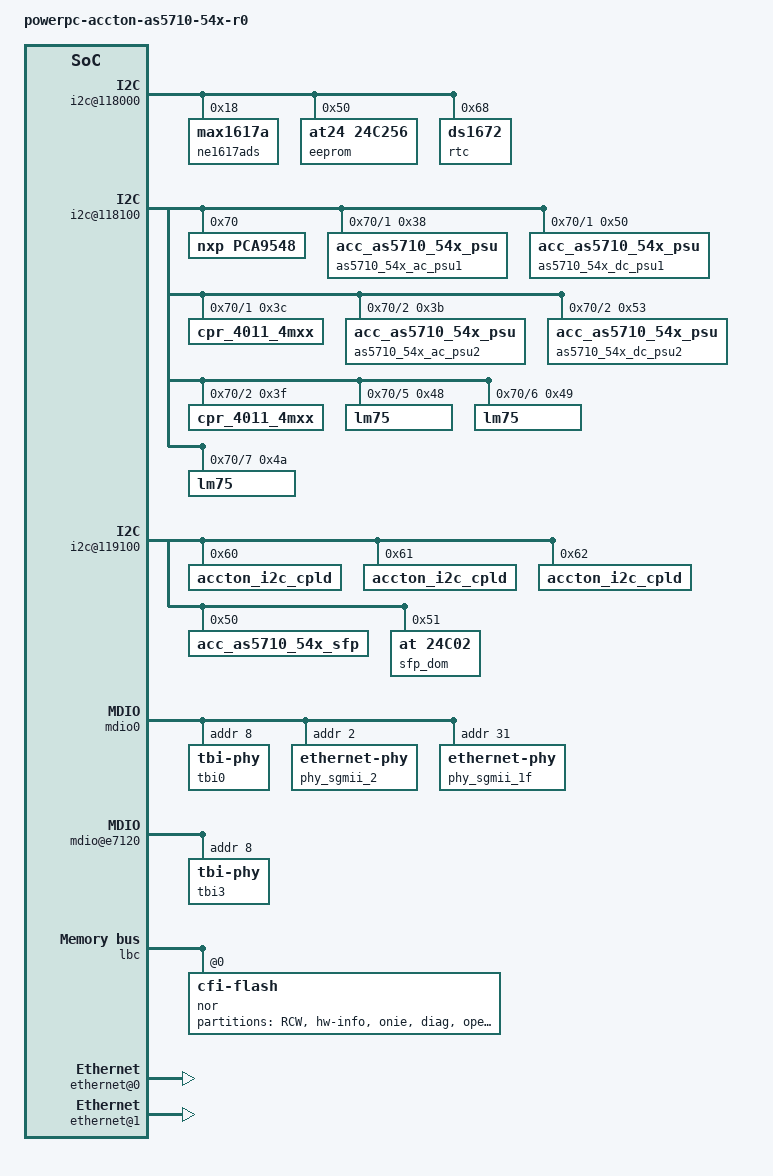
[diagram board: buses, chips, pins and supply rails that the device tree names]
/*
 * P2041RDB Device Tree Source
 *
 * Copyright 2011-2012 Freescale Semiconductor Inc.
 *
 * Redistribution and use in source and binary forms, with or without
 * modification, are permitted provided that the following conditions are met:
 *     * Redistributions of source code must retain the above copyright
 *	 notice, this list of conditions and the following disclaimer.
 *     * Redistributions in binary form must reproduce the above copyright
 *	 notice, this list of conditions and the following disclaimer in the
 *	 documentation and/or other materials provided with the distribution.
 *     * Neither the name of Freescale Semiconductor nor the
 *	 names of its contributors may be used to endorse or promote products
 *	 derived from this software without specific prior written permission.
 *
 *
 * ALTERNATIVELY, this software may be distributed under the terms of the
 * GNU General Public License ("GPL") as published by the Free Software
 * Foundation, either version 2 of that License or (at your option) any
 * later version.
 *
 * THIS SOFTWARE IS PROVIDED BY Freescale Semiconductor ``AS IS'' AND ANY
 * EXPRESS OR IMPLIED WARRANTIES, INCLUDING, BUT NOT LIMITED TO, THE IMPLIED
 * WARRANTIES OF MERCHANTABILITY AND FITNESS FOR A PARTICULAR PURPOSE ARE
 * DISCLAIMED. IN NO EVENT SHALL Freescale Semiconductor BE LIABLE FOR ANY
 * DIRECT, INDIRECT, INCIDENTAL, SPECIAL, EXEMPLARY, OR CONSEQUENTIAL DAMAGES
 * (INCLUDING, BUT NOT LIMITED TO, PROCUREMENT OF SUBSTITUTE GOODS OR SERVICES;
 * LOSS OF USE, DATA, OR PROFITS; OR BUSINESS INTERRUPTION) HOWEVER CAUSED AND
 * ON ANY THEORY OF LIABILITY, WHETHER IN CONTRACT, STRICT LIABILITY, OR TORT
 * (INCLUDING NEGLIGENCE OR OTHERWISE) ARISING IN ANY WAY OUT OF THE USE OF THIS
 * SOFTWARE, EVEN IF ADVISED OF THE POSSIBILITY OF SUCH DAMAGE.
 */

/include/ "fsl/as5710_54x-pre.dtsi"

/ {
	model = "powerpc-accton-as5710-54x-r0";
	compatible = "accton,as5710_54x";
	#address-cells = <2>;
	#size-cells = <2>;
	interrupt-parent = <&mpic>;

	aliases {
		ethernet0 = &enet3;
		ethernet1 = &enet0;
		phy_sgmii_2 = &phy_sgmii_2;
		phy_sgmii_1f = &phy_sgmii_1f;

	};

	memory {
		device_type = "memory";
	};

	dcsr: dcsr@f00000000 {
		ranges = <0x00000000 0xf 0x00000000 0x01008000>;
	};

	bportals: bman-portals@ff4000000 {
		ranges = <0x0 0xf 0xf4000000 0x200000>;
	};

	qportals: qman-portals@ff4200000 {
		ranges = <0x0 0xf 0xf4200000 0x200000>;
	};

	soc: soc@ffe000000 {
		ranges = <0x00000000 0xf 0xfe000000 0x1000000>;
		reg = <0xf 0xfe000000 0 0x00001000>;


		i2c@118000 {
			ne1617ads@18 {
				compatible = "max1617a";
				reg = <0x18>;
			};
			eeprom@50 {
				compatible = "at24,24c256";
				reg = <0x50>;
			};
			rtc: ds1672@68 {
				compatible = "ds1672";
				reg = <0x68>;
			};
		};

		i2c@118100 {
			pca9548@70 {
				compatible = "nxp,pca9548";
				reg = <0x70>;
				#address-cells = <1>;
				#size-cells = <0>;

				i2c@1 {
					#address-cells = <0x1>;
					#size-cells = <0x0>;
					reg = <0x1>;

					as5710_54x_ac_psu1@38 {
						compatible = "acc_as5710_54x_psu";
						reg = <0x38>;
					};
					as5710_54x_dc_psu1@50 {
						compatible = "acc_as5710_54x_psu";
						reg = <0x50>;
					};
					cpr_4011_4mxx@3c {
						compatible = "cpr_4011_4mxx";
						reg = <0x3c>;
					};
				};
				i2c@2 {
					#address-cells = <0x1>;
					#size-cells = <0x0>;
					reg = <0x2>;

					as5710_54x_ac_psu2@3b {
						compatible = "acc_as5710_54x_psu";
						reg = <0x3b>;
					};
					as5710_54x_dc_psu2@53 {
						compatible = "acc_as5710_54x_psu";
						reg = <0x53>;
					};
					cpr_4011_4mxx@3f {
						compatible = "cpr_4011_4mxx";
						reg = <0x3f>;
					};
				};
				i2c@5 {
					#address-cells = <0x1>;
					#size-cells = <0x0>;
					reg = <0x5>;

					lm75@48 {
						compatible = "lm75";
						reg = <0x48>;
					};
				};
				i2c@6 {
					#address-cells = <0x1>;
					#size-cells = <0x0>;
					reg = <0x6>;

					lm75@49 {
						compatible = "lm75";
						reg = <0x49>;
					};
				};
				i2c@7 {
					#address-cells = <0x1>;
					#size-cells = <0x0>;
					reg = <0x7>;

					lm75@4a{
						compatible = "lm75";
						reg = <0x4a>;
					};
				};
			};
		};
		i2c@119000 {
		};

		i2c@119100 {
			accton_i2c_cpld@60 {
				compatible = "accton_i2c_cpld";
				reg = <0x60>;
			};
			accton_i2c_cpld@61 {
				compatible = "accton_i2c_cpld";
				reg = <0x61>;
			};
			accton_i2c_cpld@62 {
				compatible = "accton_i2c_cpld";
				reg = <0x62>;
			};
			acc_as5710_54x_sfp@50 {
				compatible = "acc_as5710_54x_sfp";
				reg = <0x50>;
			};
                        sfp_dom@51 {
                                compatible = "at,24c02";
                                reg = <0x51>;
                        };
		};

		usb1: usb@211000 {
			dr_mode = "host";
		};

		fman0: fman@400000 {
			enet0: ethernet@e0000 {
				tbi-handle = <&tbi0>;
				phy-handle = <&phy_sgmii_2>;
				phy-connection-type = "sgmii";
			};

			mdio0: mdio@e1120 {
				tbi0: tbi-phy@8 {
					reg = <0x8>;
					device_type = "tbi-phy";
				};

				phy_sgmii_2: ethernet-phy@2 {
					reg = <0x2>;
				};

				phy_sgmii_1f: ethernet-phy@1f {
					reg = <0x1f>;
				};
			};

			enet3: ethernet@e6000 {
				tbi-handle = <&tbi3>;
                phy-handle = <&phy_sgmii_1f>;
                phy-connection-type = "sgmii";
			};

			mdio@e7120 {
				tbi3: tbi-phy@8 {
					reg = <8>;
					device_type = "tbi-phy";
				};
			};

		};
	};

	rio: rapidio@ffe0c0000 {
		reg = <0xf 0xfe0c0000 0 0x11000>;

		port1 {
			ranges = <0 0 0xc 0x20000000 0 0x10000000>;
		};
		port2 {
			ranges = <0 0 0xc 0x30000000 0 0x10000000>;
		};
	};


	lbc: localbus@ffe124000 {
/*orig
		reg = <0xf 0xfe124000 0 0x1000>;
		ranges = <0 0 0xf 0xe8000000 0x08000000
			  1 0 0xf 0xffa00000 0x00040000>;
*/

/*miles*/
		reg = <0xf 0xfe124000 0 0x1000>;
		ranges = <0 0 0xf 0xe8000000 0x08000000>;

        nor@0,0 {
                #address-cells = <0x1>;
                #size-cells = <0x1>;
                compatible = "cfi-flash";
                reg = <0x0 0x0 0x8000000>;
                bank-width = <0x2>;
                device-width = <0x2>;
                byteswap;
                partition@0 {
                        /*RCW 128KB*/
                        reg = <0x00000000 0x00020000>;
                        label = "RCW";
                        read-only;
                };
                partition@1 {
                        /*HW info 128KB*/
                        reg = <0x00020000 0x00020000>;
                        label = "hw-info";
                        read-only;
                };
                partition@2 {
                        /*ONIE 13MB*/
                        reg = <0x00040000 0x00d00000>;
                        label = "onie";
                        read-only;
                };
                partition@3 {
                        /*Diag 20MB*/
                        reg = <0x00d40000 0x01400000>;
                        label = "diag";
                };
                partition@4 {
                        /*Reserved*/
                        reg = <0x02140000 0x05E00000>;
                        label = "open";
                };
                partition@5 {
                        /*Firmware (Fman) 128KB*/
                        reg = <0x07f40000 0x00020000>;
                        label = "Fman-FW";
                        read-only;
                };
                partition@6 {
                        /*uboot env 128KB*/
                        reg = <0x07f60000 0x00020000>;
                        label = "uboot-env";
                        env_size = <0x2000>;
                };
                partition@7 {
                        /*uboot*/
                        reg = <0x07f80000 0x00080000>;
                        label = "uboot";
                        read-only;
                };
        };


/* orig
		flash@0,0 {
			compatible = "cfi-flash";
			reg = <0 0 0x08000000>;
			bank-width = <2>;
			device-width = <2>;
		};

		nand@1,0 {
			#address-cells = <1>;
			#size-cells = <1>;
			compatible = "fsl,elbc-fcm-nand";
			reg = <0x1 0x0 0x40000>;

			partition@0 {
				label = "NAND U-Boot Image";
				reg = <0x0 0x02000000>;
				read-only;
			};

			partition@2000000 {
				label = "NAND Root File System";
				reg = <0x02000000 0x10000000>;
			};

			partition@12000000 {
				label = "NAND Compressed RFS Image";
				reg = <0x12000000 0x08000000>;
			};

			partition@1a000000 {
				label = "NAND Linux Kernel Image";
				reg = <0x1a000000 0x04000000>;
			};

			partition@1e000000 {
				label = "NAND DTB Image";
				reg = <0x1e000000 0x01000000>;
			};

			partition@1f000000 {
				label = "NAND Writable User area";
				reg = <0x1f000000 0x01000000>;
			};

		};
*/
	};


/* orig *//*
	pci0: pcie@ffe200000 {
		reg = <0xf 0xfe200000 0 0x1000>;
		ranges = <0x02000000 0 0xe0000000 0xc 0x00000000 0x0 0x20000000
			  0x01000000 0 0x00000000 0xf 0xf8000000 0x0 0x00010000>;
		pcie@0 {
			ranges = <0x02000000 0 0xe0000000
				  0x02000000 0 0xe0000000
				  0 0x20000000

				  0x01000000 0 0x00000000
				  0x01000000 0 0x00000000
				  0 0x00010000>;
		};
	};

	pci1: pcie@ffe201000 {
		reg = <0xf 0xfe201000 0 0x1000>;
		ranges = <0x02000000 0x0 0xe0000000 0xc 0x20000000 0x0 0x20000000
			  0x01000000 0x0 0x00000000 0xf 0xf8010000 0x0 0x00010000>;
		pcie@0 {
			ranges = <0x02000000 0 0xe0000000
				  0x02000000 0 0xe0000000
				  0 0x20000000

				  0x01000000 0 0x00000000
				  0x01000000 0 0x00000000
				  0 0x00010000>;
		};
	};

	pci2: pcie@ffe202000 {
		reg = <0xf 0xfe202000 0 0x1000>;
		ranges = <0x02000000 0 0xe0000000 0xc 0x40000000 0 0x20000000
			  0x01000000 0 0x00000000 0xf 0xf8020000 0 0x00010000>;
		pcie@0 {
			ranges = <0x02000000 0 0xe0000000
				  0x02000000 0 0xe0000000
				  0 0x20000000

				  0x01000000 0 0x00000000
				  0x01000000 0 0x00000000
				  0 0x00010000>;
		};
	};
*/

	pci0: pcie@ffe200000 {
		reg = <0xf 0xfe200000 0 0x1000>;
		ranges = <0x02000000 0x0 0xd0000000
                  0x0 0xd0000000
                  0x0 0x08000000

			      0x01000000 0x0 0x00000000
                  0x0 0xf8000000
                  0x0 0x00010000>;
		pcie@0 {
            ranges = <0x02000000 0 0xe0000000
                      0x02000000 0 0xe0000000
				      0 0x08000000

				      0x01000000 0 0x00000000
                      0x01000000 0 0x00000000
				      0 0x00010000>;
		};
	};

	pci1: pcie@ffe201000 {
		reg = <0xf 0xfe201000 0 0x1000>;
		ranges = <0x02000000 0x0 0xd8000000
                  0x0 0xd8000000
                  0x0 0x08000000

			      0x01000000 0x0 0x00000000
                  0x0 0xf8010000
                  0x0 0x00010000>;
		pcie@0 {
            ranges = <0x02000000 0 0xe0000000
                      0x02000000 0 0xe0000000
				      0 0x08000000

				      0x01000000 0 0x00000000
                      0x01000000 0 0x00000000
				      0 0x00010000>;
		};
	};

	pci2: pcie@ffe202000 {
		reg = <0xf 0xfe202000 0 0x1000>;
		ranges = <0x02000000 0x0 0xe0000000
                  0x0 0xe0000000
                  0x0 0x08000000

			      0x01000000 0x0 0x00000000
                  0x0 0xf8020000
                  0x0 0x00010000>;

		pcie@0 {
			ranges = <0x02000000 0 0xe0000000
				      0x02000000 0 0xe0000000
				      0 0x08000000

				      0x01000000 0 0x00000000
                      0x01000000 0 0x00000000
				      0 0x00010000>;
		};
	};

	fsl,dpaa {
		compatible = "fsl,p2041-dpaa", "fsl,dpaa";

		ethernet@0 {
			compatible = "fsl,p2041-dpa-ethernet", "fsl,dpa-ethernet";
			fsl,fman-mac = <&enet3>;
		};

		ethernet@1 {
			compatible = "fsl,p2041-dpa-ethernet", "fsl,dpa-ethernet";
			fsl,fman-mac = <&enet0>;
		};
	};
};

/include/ "fsl/as5710_54x-post.dtsi"

/include/ "fsl/qoriq-dpaa-res1.dtsi"
